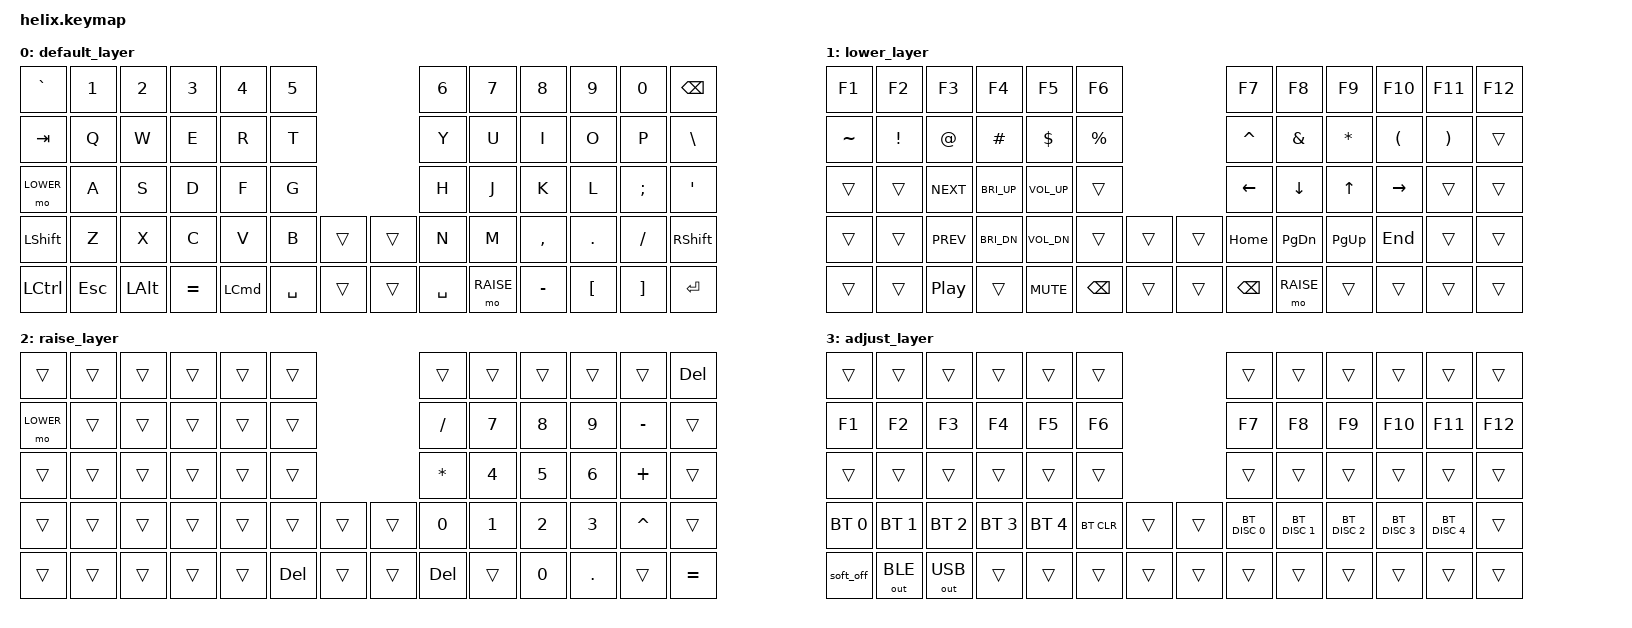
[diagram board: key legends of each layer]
/*
 * Copyright (c) 2020 The ZMK Contributors
 *
 * SPDX-License-Identifier: MIT
 */

#include <behaviors.dtsi>
#include <dt-bindings/zmk/keys.h>
#include <dt-bindings/zmk/bt.h>
#include <dt-bindings/zmk/outputs.h>

#define DEFAULT 0
#define LOWER   1
#define RAISE   2
#define ADJUST  3

// Require 500ms hold to trigger soft-off (accidental tap-through impossible given 3-key combo)
&soft_off {
       hold-time-ms = <500>;
};

/ {
       // Conditional layer: When both LOWER and RAISE are active, activate ADJUST.
       // Order-independent: fires whenever both are held regardless of press order.
       conditional_layers {
              compatible = "zmk,conditional-layers";
              adjust_layer {
                     if-layers = <LOWER RAISE>;
                     then-layer = <ADJUST>;
              };
       };

       // Any key wakes from soft-off (same behaviour as waking from deep sleep).
       // Each half wakes independently on any keypress; BLE reconnects in ~2-3s.
       soft_off_wakers {
              compatible = "zmk,soft-off-wakeup-sources";
              wakeup-sources = <&kscan0>;
       };

       keymap {
              compatible = "zmk,keymap";

              default_layer {
// ---------------------------------------------------------------------------------------------------------------------------------
// | GRAVE  |   1    |   2    |   3    |   4    |   5    |                                      |   6    |   7    |   8    |   9    |   0    |  BSPC  |
// |  TAB   |   Q    |   W    |   E    |   R    |   T    |                                      |   Y    |   U    |   I    |   O    |   P    |  BSLH  |
// | LOWER  |   A    |   S    |   D    |   F    |   G    |                                      |   H    |   J    |   K    |   L    |   ;    |   '    |
// | SHIFT  |   Z    |   X    |   C    |   V    |   B    |        |                    |        |   N    |   M    |   ,    |   .    |   /    |  RET   |
// | LCTRL  |  ESC   |  ALT   |  EQUAL |  LCMD  | SPACE  |        |                    |        | SPACE  | RAISE  | MINUS  |  LBKT  |  RBKT  |  SHIFT |
                     bindings = <
       &kp GRAVE  &kp N1  &kp N2   &kp N3    &kp N4   &kp N5                             &kp N6    &kp N7    &kp N8    &kp N9     &kp N0    &kp BSPC
       &kp TAB    &kp Q   &kp W    &kp E     &kp R    &kp T                              &kp Y     &kp U     &kp I     &kp O      &kp P     &kp BSLH
       &mo LOWER  &kp A   &kp S    &kp D     &kp F    &kp G                              &kp H     &kp J     &kp K     &kp L      &kp SEMI  &kp SQT
       &kp LSHFT  &kp Z   &kp X    &kp C     &kp V    &kp B     &trans         &trans    &kp N     &kp M     &kp COMMA &kp PERIOD &kp SLASH &kp RSHFT
       &kp LCTRL  &kp ESC &kp LALT &kp EQUAL &kp LCMD &kp SPACE &trans         &trans    &kp SPACE &mo RAISE &kp MINUS &kp LBKT   &kp RBKT  &kp RET
                     >;
              };

              lower_layer {
// ---------------------------------------------------------------------------------------------------------------------------------
// |  F1  |  F2  |  F3  |  F4  |  F5  |  F6  |                                  |  F7   |  F8   |  F9   |  F10  | F11  | F12  |
// |  ~   |  !   |  @   |  #   |  $   |  %   |                                  |  ^    |  &    |  *    |  (    |  )   |      |
// |  --- |      | NEXT | BRT+ | VOL+ |      |                                  | LEFT  | DOWN  |  UP   | RIGHT |      |      |
// |      |      | PREV | BRT- | VOL- |      |      |                    |      | HOME  | PG_DN | PG_UP | END   |      |      |
// |      |      | PLAY |      | MUTE | BSPC |      |                    |      | BSPC  | RAISE |       |       |      |      |
                     bindings = <
       &kp F1  &kp F2  &kp F3     &kp F4       &kp F5       &kp F6                           &kp F7    &kp F8    &kp F9    &kp F10   &kp F11   &kp F12
       &kp TILDE &kp EXCL &kp AT  &kp HASH     &kp DLLR     &kp PRCNT                        &kp CARET &kp AMPS  &kp ASTRK &kp LPAR  &kp RPAR  &trans
       &trans  &trans  &kp C_NEXT &kp C_BRI_UP &kp C_VOL_UP &trans                           &kp LEFT  &kp DOWN  &kp UP    &kp RIGHT &trans    &trans
       &trans  &trans  &kp C_PREV &kp C_BRI_DN &kp C_VOL_DN &trans    &trans       &trans    &kp HOME  &kp PG_DN &kp PG_UP &kp END   &trans    &trans
       &trans  &trans  &kp C_PP   &trans       &kp C_MUTE   &kp BSPC  &trans       &trans    &kp BSPC  &mo RAISE &trans    &trans    &trans    &trans
                     >;
              };

              raise_layer {
// -------------------------------------------------------------------------------------------------------------------------------------------------
// |         |         |         |         |         |        |                                    |       |       |       |       |       |  DEL  |
// | LOWER   |         |         |         |         |        |                                    |  DIV  |   7   |   8   |   9   |   -   |       |
// |         |         |         |         |         |        |                                    |   *   |   4   |   5   |   6   |   +   |       |
// |         |         |         |         |         |        |       |                    |       |   0   |   1   |   2   |   3   |   ^   |       |
// |         |         |         |         |         |  DEL   |       |                    |       |  DEL  |  ---  |   0   |   .   |       |   =   |
                     bindings = <
       &trans    &trans &trans &trans &trans &trans                            &trans    &trans  &trans &trans  &trans    &kp DEL
       &mo LOWER &trans &trans &trans &trans &trans                            &kp SLASH &kp N7  &kp N8 &kp N9  &kp MINUS &trans
       &trans    &trans &trans &trans &trans &trans                            &kp ASTRK &kp N4  &kp N5 &kp N6  &kp PLUS  &trans
       &trans    &trans &trans &trans &trans &trans     &trans       &trans    &kp N0    &kp N1  &kp N2 &kp N3  &kp CARET &trans
       &trans    &trans &trans &trans &trans &kp DEL    &trans       &trans    &kp DEL   &trans  &kp N0 &kp DOT &trans    &kp EQUAL
                     >;
              };

              adjust_layer {
// ---------------------------------------------------------------------------------------------------------------------------------
// |         |         |         |         |         |        |                                      |         |         |         |         |         |         |
// |  F1     |  F2     |  F3     |  F4     |  F5     |  F6    |                                      |  F7     |  F8     |  F9     |  F10    |  F11    |  F12    |
// |  ---    |         |         |         |         |        |                                      |         |         |         |         |         |         |
// | BT SEL0 | BT SEL1 | BT SEL2 | BT SEL3 | BT SEL4 | BT CLR |       |                    |       | BT DSC0 | BT DSC1 | BT DSC2 | BT DSC3 | BT DSC4 |         |
// | PWR OFF | O_BLE   | O_USB   |         |  ---    |        |       |                    |       |         |  ---    |         |         |         |         |
                     bindings = <
       &trans        &trans        &trans        &trans        &trans        &trans                        &trans        &trans        &trans        &trans        &trans        &trans
       &kp F1        &kp F2        &kp F3        &kp F4        &kp F5        &kp F6                        &kp F7        &kp F8        &kp F9        &kp F10       &kp F11       &kp F12
       &trans        &trans        &trans        &trans        &trans        &trans                        &trans        &trans        &trans        &trans        &trans        &trans
       &bt BT_SEL 0  &bt BT_SEL 1  &bt BT_SEL 2  &bt BT_SEL 3  &bt BT_SEL 4  &bt BT_CLR  &trans &trans    &bt BT_DISC 0 &bt BT_DISC 1 &bt BT_DISC 2 &bt BT_DISC 3 &bt BT_DISC 4 &trans
       &soft_off     &out OUT_BLE  &out OUT_USB  &trans        &trans        &trans      &trans &trans      &trans        &trans        &trans        &trans        &trans        &trans
                     >;
              };
       };
};
